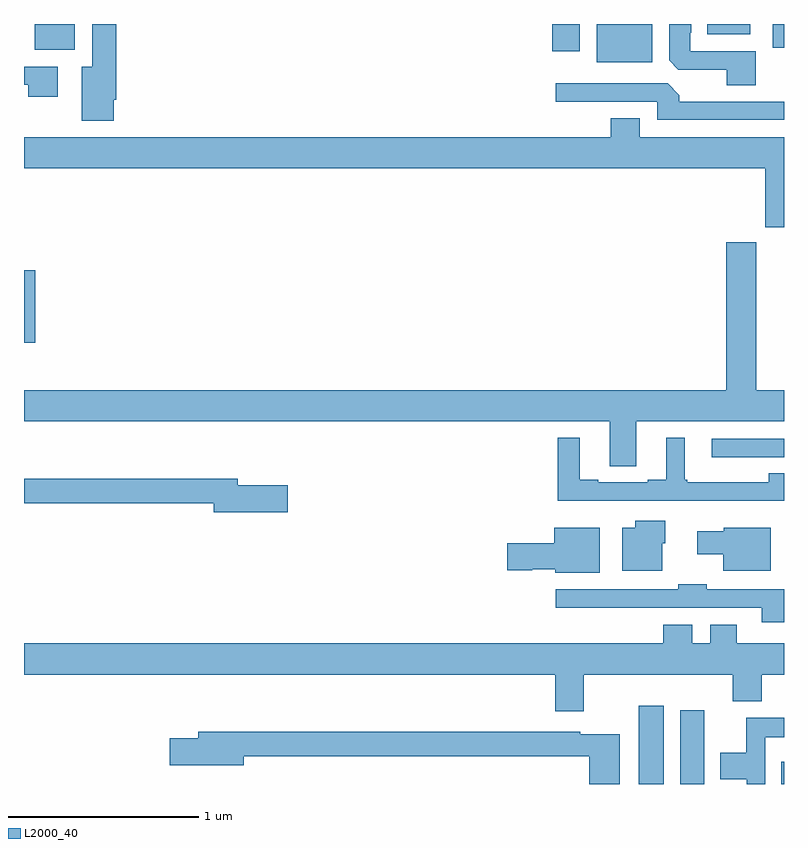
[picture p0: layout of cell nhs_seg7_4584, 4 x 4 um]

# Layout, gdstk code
import gdstk
lib = gdstk.Library(unit=1e-6, precision=1e-09)
def R(c, l, rs):  # rectangles x0, y0, x1, y1
    for r in rs: c.add(gdstk.rectangle(r[:2], r[2:], *l))
def P(c, l, *ps):  # polygons
    for p in ps: c.add(gdstk.Polygon(p, *l))
L2000_40 = (2000, 40)

nhs_seg7_4584 = lib.new_cell('nhs_seg7_4584')
R(nhs_seg7_4584, L2000_40, [(402.236,1040,402.367,1040.413), (402.455,1040,402.58,1040.389), (402.985,1040,403,1040.116), (402.621,1041.72,403,1041.816), (399,1042.323,399.059,1042.704), (402.014,1043.798,402.307,1044), (401.78,1043.856,401.926,1044), (399.056,1043.864,399.268,1044), (402.942,1043.876,403,1044), (402.596,1043.945,402.823,1044)])
P(nhs_seg7_4584, L2000_40, [(399.472,1043.602),(399.485,1043.602),(399.485,1044),(399.359,1044),(399.359,1043.776),(399.305,1043.776),(399.305,1043.49),(399.472,1043.49)],
  [(402.851,1043.856),(402.507,1043.856),(402.507,1043.953),(402.511,1043.953),(402.511,1044),(402.395,1044),(402.395,1043.809),(402.444,1043.76),(402.698,1043.76),(402.698,1043.677),(402.851,1043.677)],
  [(399.178,1043.775),(399,1043.775),(399,1043.679),(399.022,1043.679),(399.022,1043.616),(399.178,1043.616)],
  [(403,1043.592),(402.449,1043.592),(402.449,1043.626),(402.387,1043.688),(401.799,1043.688),(401.799,1043.592),(402.333,1043.592),(402.333,1043.496),(403,1043.496)],
  [(403,1043.404),(402.241,1043.404),(402.241,1043.503),(402.089,1043.503),(402.089,1043.404),(399,1043.404),(399,1043.24),(402.902,1043.24),(402.902,1042.931),(403,1042.931)],
  [(402.223,1041.908),(403,1041.908),(403,1042.072),(402.855,1042.072),(402.855,1042.852),(402.695,1042.852),(402.695,1042.072),(399,1042.072),(399,1041.908),(402.083,1041.908),(402.083,1041.673),(402.223,1041.673)],
  [(402.122,1041.492),(402.555,1041.492),(402.555,1041.491),(403,1041.491),(403,1041.635),(402.92,1041.635),(402.92,1041.589),(402.49,1041.589),(402.49,1041.601),(402.478,1041.601),(402.478,1041.823),(402.38,1041.823),(402.38,1041.601),(402.284,1041.601),(402.284,1041.588),(402.022,1041.588),(402.022,1041.601),(401.926,1041.601),(401.926,1041.823),(401.809,1041.823),(401.809,1041.491),(402.122,1041.491)],
  [(400.387,1041.573),(400.126,1041.573),(400.126,1041.607),(399,1041.607),(399,1041.478),(399.998,1041.478),(399.998,1041.43),(400.387,1041.43)],
  [(402.358,1041.267),(402.376,1041.267),(402.376,1041.385),(402.218,1041.385),(402.218,1041.349),(402.149,1041.349),(402.149,1041.122),(402.358,1041.122)],
  [(402.031,1041.349),(401.792,1041.349),(401.792,1041.266),(401.544,1041.266),(401.544,1041.124),(401.676,1041.124),(401.676,1041.131),(401.796,1041.131),(401.796,1041.113),(402.031,1041.113)],
  [(402.931,1041.349),(402.684,1041.349),(402.684,1041.331),(402.543,1041.331),(402.543,1041.209),(402.68,1041.209),(402.68,1041.122),(402.931,1041.122)],
  [(403,1041.024),(402.594,1041.024),(402.594,1041.052),(402.444,1041.052),(402.444,1041.024),(401.799,1041.024),(401.799,1040.927),(402.344,1040.927),(402.344,1040.928),(402.884,1040.928),(402.884,1040.852),(403,1040.852)],
  [(401.947,1040.576),(402.731,1040.576),(402.731,1040.435),(402.883,1040.435),(402.883,1040.576),(403,1040.576),(403,1040.74),(402.751,1040.74),(402.751,1040.839),(402.611,1040.839),(402.611,1040.74),(402.517,1040.74),(402.517,1040.839),(402.365,1040.839),(402.365,1040.74),(399,1040.74),(399,1040.576),(401.795,1040.576),(401.795,1040.382),(401.947,1040.382)],
  [(402.9,1040.246),(403,1040.246),(403,1040.35),(402.802,1040.35),(402.802,1040.164),(402.665,1040.164),(402.665,1040.024),(402.804,1040.024),(402.804,1040),(402.9,1040)],
  [(402.136,1040.263),(401.928,1040.263),(401.928,1040.275),(399.917,1040.275),(399.917,1040.241),(399.768,1040.241),(399.768,1040.099),(400.156,1040.099),(400.156,1040.146),(401.974,1040.146),(401.974,1040),(402.136,1040)])

lib.write_gds('nhs_seg7_4584.gds')
